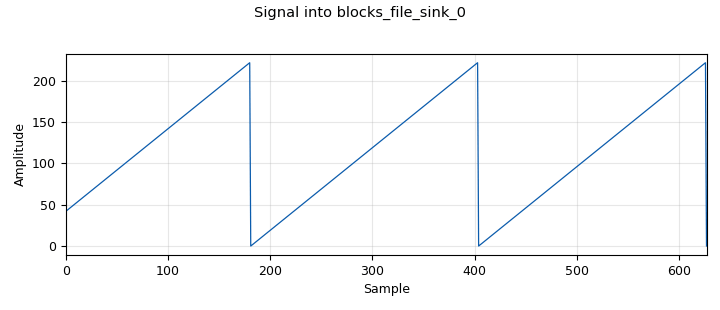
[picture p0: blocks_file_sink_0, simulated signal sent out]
<?xml version='1.0' encoding='utf-8'?>
<?grc format='1' created='3.7.7'?>
<flow_graph>
<block>
<key>options</key>
<param><key>id</key><value>top_block</value></param>
<param><key>generate_options</key><value>qt_gui</value></param>
<param><key>category</key><value>Custom</value></param>
</block>
<block>
<key>variable</key>
<param><key>id</key><value>samp_rate</value></param>
<param><key>value</key><value>32000</value></param>
</block>
<block>
<key>variable</key>
<param><key>id</key><value>interleave</value></param>
<param><key>value</key><value>4</value></param>
</block>
<block>
<key>blocks_file_sink</key>
<param><key>id</key><value>blocks_file_sink_0_0</value></param>
<param><key>file</key><value>/home/thomasp/Groundstation/CCSDS/Reed Solomon Tests/RS Test 1/encoded.bin</value></param>
<param><key>type</key><value>byte</value></param>
</block>
<block>
<key>blocks_file_sink</key>
<param><key>id</key><value>blocks_file_sink_0_0_0</value></param>
<param><key>file</key><value>/home/thomasp/Groundstation/CCSDS/Reed Solomon Tests/RS Test 1/output.bin</value></param>
<param><key>type</key><value>byte</value></param>
</block>
<block>
<key>ccsds_rs_decode</key>
<param><key>id</key><value>ccsds_rs_decode_0_0</value></param>
<param><key>interleave</key><value>interleave</value></param>
</block>
<block>
<key>analog_random_source_x</key>
<param><key>id</key><value>analog_random_source_x_0</value></param>
<param><key>_enabled</key><value>False</value></param>
<param><key>type</key><value>byte</value></param>
<param><key>min</key><value>0</value></param>
<param><key>max</key><value>256</value></param>
<param><key>num_samps</key><value>223*interleave</value></param>
<param><key>repeat</key><value>False</value></param>
</block>
<block>
<key>ccsds_rs_encode</key>
<param><key>id</key><value>ccsds_rs_encode_0</value></param>
<param><key>interleave</key><value>interleave</value></param>
</block>
<block>
<key>blocks_file_sink</key>
<param><key>id</key><value>blocks_file_sink_0</value></param>
<param><key>file</key><value>/home/thomasp/Groundstation/CCSDS/Reed Solomon Tests/RS Test 1/input.bin</value></param>
<param><key>type</key><value>byte</value></param>
</block>
<block>
<key>blocks_vector_source_x</key>
<param><key>id</key><value>blocks_vector_source_x_0</value></param>
<param><key>type</key><value>byte</value></param>
<param><key>vector</key><value>range(223)+range(223)+range(223)+range(223)+[0]</value></param>
<param><key>repeat</key><value>False</value></param>
</block>
<connection><source_block_id>ccsds_rs_encode_0</source_block_id><sink_block_id>ccsds_rs_decode_0_0</sink_block_id><source_key>0</source_key><sink_key>0</sink_key></connection>
<connection><source_block_id>analog_random_source_x_0</source_block_id><sink_block_id>ccsds_rs_encode_0</sink_block_id><source_key>0</source_key><sink_key>0</sink_key></connection>
<connection><source_block_id>analog_random_source_x_0</source_block_id><sink_block_id>blocks_file_sink_0</sink_block_id><source_key>0</source_key><sink_key>0</sink_key></connection>
<connection><source_block_id>ccsds_rs_encode_0</source_block_id><sink_block_id>blocks_file_sink_0_0</sink_block_id><source_key>0</source_key><sink_key>0</sink_key></connection>
<connection><source_block_id>ccsds_rs_decode_0_0</source_block_id><sink_block_id>blocks_file_sink_0_0_0</sink_block_id><source_key>0</source_key><sink_key>0</sink_key></connection>
<connection><source_block_id>blocks_vector_source_x_0</source_block_id><sink_block_id>ccsds_rs_encode_0</sink_block_id><source_key>0</source_key><sink_key>0</sink_key></connection>
<connection><source_block_id>blocks_vector_source_x_0</source_block_id><sink_block_id>blocks_file_sink_0</sink_block_id><source_key>0</source_key><sink_key>0</sink_key></connection>
</flow_graph>
